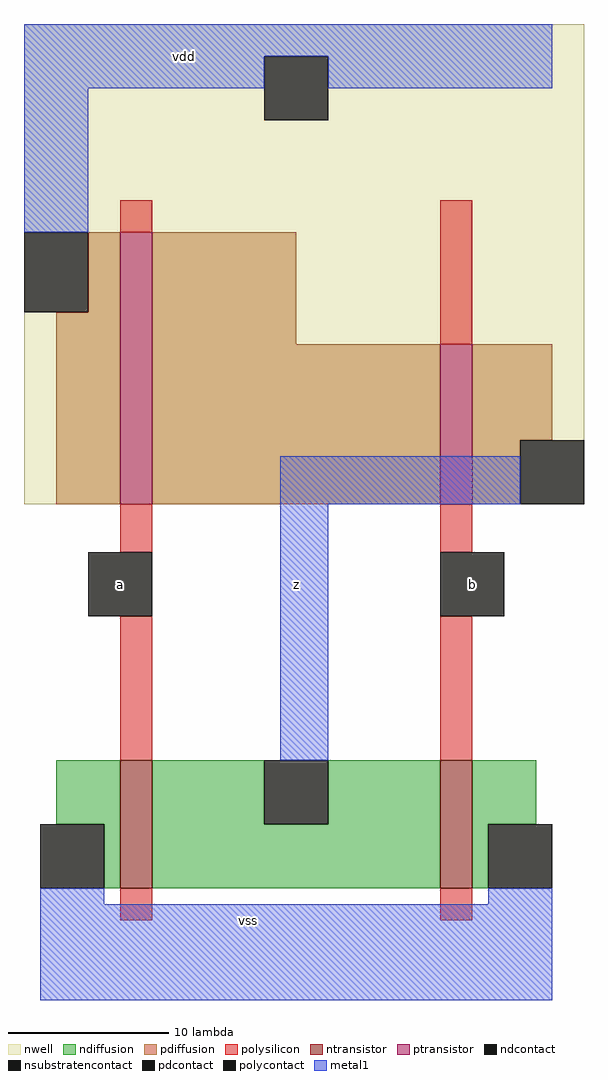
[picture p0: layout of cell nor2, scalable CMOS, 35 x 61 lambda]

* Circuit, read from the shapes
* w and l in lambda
.subckt nor2 a b vdd vss z
M1 z a vss VSUBS nfet w=8 l=2
M2 vss b z VSUBS nfet w=8 l=2
M3 n1 a vdd vdd pfet w=17 l=2
M4 z b n1 vdd pfet w=10 l=2
.ends

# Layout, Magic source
magic
tech scmos
<< nwell >>
rect 8 26 43 56
<< polysilicon >>
rect 14 43 16 45
rect 34 36 36 45
rect 14 23 16 26
rect 14 10 16 19
rect 34 23 36 26
rect 34 10 36 19
rect 14 0 16 2
rect 34 0 36 2
<< ndiffusion >>
rect 10 6 14 10
rect 13 2 14 6
rect 16 6 23 10
rect 27 6 34 10
rect 16 2 34 6
rect 36 6 40 10
rect 36 2 37 6
<< pdiffusion >>
rect 12 38 14 43
rect 10 26 14 38
rect 16 36 25 43
rect 16 26 34 36
rect 36 30 41 36
rect 36 26 39 30
<< metal1 >>
rect 8 54 41 56
rect 8 52 23 54
rect 8 43 12 52
rect 27 52 41 54
rect 24 26 39 29
rect 24 10 27 26
rect 9 1 13 2
rect 37 1 41 2
rect 9 -5 41 1
<< ntransistor >>
rect 14 2 16 10
rect 34 2 36 10
<< ptransistor >>
rect 14 26 16 43
rect 34 26 36 36
<< polycontact >>
rect 12 19 16 23
rect 34 19 38 23
<< ndcontact >>
rect 9 2 13 6
rect 23 6 27 10
rect 37 2 41 6
<< pdcontact >>
rect 8 38 12 43
rect 39 26 43 30
<< nsubstratencontact >>
rect 23 50 27 54
<< labels >>
rlabel metal1 18 54 18 54 5 vdd
rlabel polycontact 14 21 14 21 1 a
rlabel polycontact 36 21 36 21 1 b
rlabel metal1 25 21 25 21 1 z
rlabel metal1 22 0 22 0 1 vss
<< end >>
